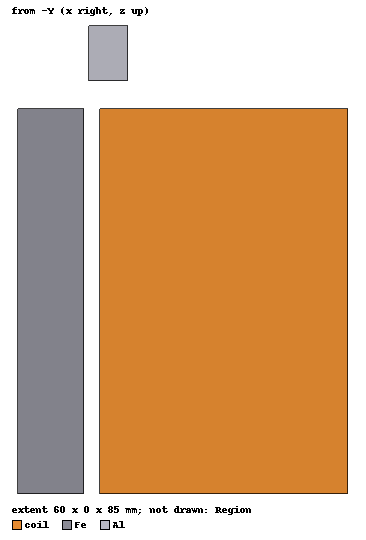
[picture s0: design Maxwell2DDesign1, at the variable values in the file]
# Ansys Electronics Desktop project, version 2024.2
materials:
  vacuum: permittivity=1
  copper: permeability=0.999991 conductivity=58000000
  air: permittivity=1.0006 permeability=1.0000004
  Al2_O3_ceramic: permittivity=9.8
  aluminum: permeability=1.000021 conductivity=38000000
  iron: permeability=4000 conductivity=10300000

design Maxwell2DDesign1 (Maxwell 2D, EddyCurrent, about Z geometry, model units mm)
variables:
  z_plate = 75mm
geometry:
  coil [copper] = rectangle(corner=(15mm, 0mm, 0mm), z_size=70mm, x_size=45mm)
  Region [air] = region(percentage_offset: +X=100, -X=100, +Y=0, -Y=0, +Z=200, -Z=100)
  Polyline1 [non-model] = polyline((0mm, 0mm, -240mm) (0mm, 0mm, 240mm))
  Al [aluminum] = rectangle(corner=(13mm, 0mm, z_plate), z_size=10mm, x_size=7mm)
  Fe [iron] = rectangle(corner=(0mm, 0mm, 0mm), z_size=70mm, x_size=12mm)
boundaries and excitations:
  Symmetry1: Symmetry Edges=Region.edge(at (0, 0, 85)) IsOdd=true
  Balloon1: Balloon Edges=Region.edge(at (120, 0, 85), at (60, 0, 255), at (60, 0, -85))
  Rectangle1: Coil Objects=coil Conductor_number=730 Winding=Winding1 PolarityType=Positive
  Winding1: Winding Group Type=Current IsSolid=false Current=5A ParallelBranchesNum=1 Phase=0deg
  eddy effects on: coil, Al, Fe
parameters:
  Force1: Force Reference_CS=Global Objects=Al
  Matrix1: Matrix Winding1:
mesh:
  initial mesh: GlobalSurfApproximation{CurvedSurfaceApproxChoice=UseSlider SliderMeshSettings=7}
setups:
  Setup1: EddyCurrent MaximumPasses=50 MinimumPasses=2 MinimumConvergedPasses=1 PercentRefinement=30 PercentError=0.1 NonLinearResidual=0.0001 Frequency=50Hz
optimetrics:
  ParametricSetup1: Parametric Sim._Setups=[Setup1]
    sweep z_plate: LIN 70.5mm 100mm 0.5mm
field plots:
  Mag_H1: H over Al, coil on Setup1 : LastAdaptive at Freq=50Hz Phase=0deg
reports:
  Force Table 1: Force_z vs Freq on Setup1 : LastAdaptive [z_plate=all]
